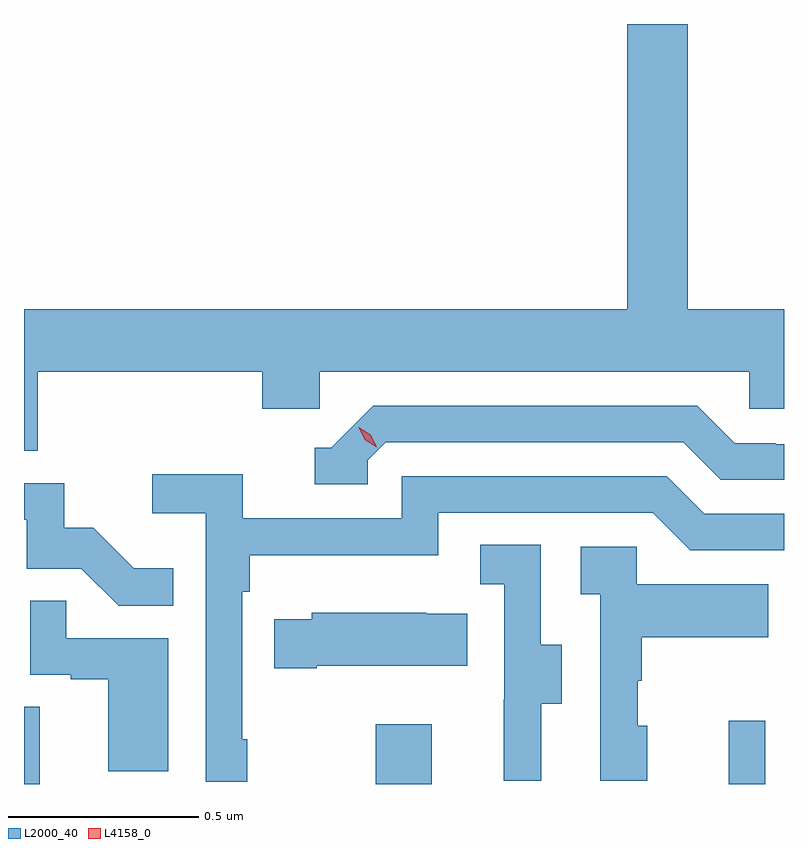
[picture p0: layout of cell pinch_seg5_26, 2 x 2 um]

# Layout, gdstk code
import gdstk
lib = gdstk.Library(unit=1e-6, precision=1e-09)
def R(c, l, rs):  # rectangles x0, y0, x1, y1
    for r in rs: c.add(gdstk.rectangle(r[:2], r[2:], *l))
def P(c, l, *ps):  # polygons
    for p in ps: c.add(gdstk.Polygon(p, *l))
L2000_40 = (2000, 40)
L4158_0 = (4158, 0)

pinch_seg5_26 = lib.new_cell('pinch_seg5_26')
R(pinch_seg5_26, L2000_40, [(1130.378,894.303,1130.419,894.506), (1131.304,894.303,1131.451,894.46), (1132.232,894.303,1132.329,894.469)])
P(pinch_seg5_26, L2000_40, [(1130.414,895.388),(1131.005,895.388),(1131.005,895.29),(1131.156,895.29),(1131.156,895.388),(1132.287,895.388),(1132.287,895.29),(1132.378,895.29),(1132.378,895.552),(1132.125,895.552),(1132.125,896.303),(1131.965,896.303),(1131.965,895.552),(1130.378,895.552),(1130.378,895.18),(1130.414,895.18)],
  [(1131.282,895.155),(1131.33,895.203),(1132.113,895.203),(1132.212,895.104),(1132.378,895.104),(1132.378,895.197),(1132.356,895.197),(1132.356,895.2),(1132.249,895.2),(1132.15,895.299),(1131.297,895.299),(1131.186,895.188),(1131.143,895.188),(1131.143,895.092),(1131.282,895.092)],
  [(1130.965,894.421),(1130.952,894.421),(1130.952,894.809),(1130.972,894.809),(1130.972,894.905),(1131.468,894.905),(1131.468,895.017),(1132.032,895.017),(1132.131,894.918),(1132.378,894.918),(1132.378,895.014),(1132.168,895.014),(1132.069,895.113),(1131.372,895.113),(1131.372,895.002),(1130.954,895.002),(1130.954,895.118),(1130.715,895.118),(1130.715,895.016),(1130.856,895.016),(1130.856,894.309),(1130.965,894.309)],
  [(1130.771,894.871),(1130.667,894.871),(1130.56,894.978),(1130.484,894.978),(1130.484,895.095),(1130.378,895.095),(1130.378,894.999),(1130.385,894.999),(1130.385,894.87),(1130.529,894.87),(1130.627,894.772),(1130.771,894.772)],
  [(1131.739,894.514),(1131.793,894.514),(1131.793,894.669),(1131.738,894.669),(1131.738,894.932),(1131.579,894.932),(1131.579,894.829),(1131.642,894.829),(1131.642,894.525),(1131.641,894.525),(1131.641,894.312),(1131.739,894.312)],
  [(1132.018,894.456),(1131.993,894.456),(1131.993,894.575),(1132.003,894.575),(1132.003,894.689),(1132.337,894.689),(1132.337,894.829),(1131.99,894.829),(1131.99,894.927),(1131.843,894.927),(1131.843,894.803),(1131.894,894.803),(1131.894,894.312),(1132.018,894.312)],
  [(1130.758,894.687),(1130.489,894.687),(1130.489,894.785),(1130.394,894.785),(1130.394,894.591),(1130.501,894.591),(1130.501,894.579),(1130.6,894.579),(1130.6,894.336),(1130.758,894.336)],
  [(1131.148,894.614),(1131.545,894.614),(1131.545,894.751),(1131.437,894.751),(1131.437,894.754),(1131.135,894.754),(1131.135,894.736),(1131.037,894.736),(1131.037,894.607),(1131.148,894.607)])
P(pinch_seg5_26, L4158_0, [(1131.306,895.189),(1131.275,895.209),(1131.259,895.241),(1131.259,895.242),(1131.259,895.242),(1131.29,895.222),(1131.306,895.189),(1131.306,895.189)])

lib.write_gds('pinch_seg5_26.gds')
